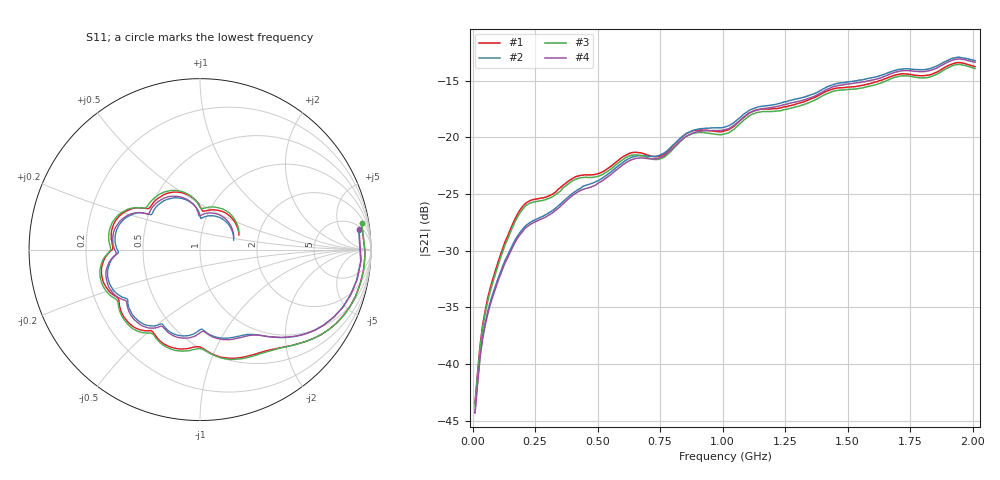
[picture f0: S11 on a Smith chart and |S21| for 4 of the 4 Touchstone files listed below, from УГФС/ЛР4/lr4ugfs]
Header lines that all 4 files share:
# MHz S MA R 50
!  freq  S11  S21  S12  S22
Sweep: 10 MHz to 2.01 GHz
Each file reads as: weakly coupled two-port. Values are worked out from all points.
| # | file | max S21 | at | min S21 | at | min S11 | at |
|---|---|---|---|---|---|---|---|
| 1 | 434.s2p | -13.42 dB | 1.95 GHz | -43.4 dB | 10 MHz | -12.9 dB | 1.819 GHz |
| 2 | 435.s2p | -12.95 dB | 1.94 GHz | -44.2 dB | 10 MHz | -14.8 dB | 1.819 GHz |
| 3 | 437.s2p | -13.57 dB | 1.95 GHz | -43.7 dB | 10 MHz | -12.4 dB | 1.819 GHz |
| 4 | 438.s2p | -13.09 dB | 1.95 GHz | -44.3 dB | 10 MHz | -14.1 dB | 1.819 GHz |
